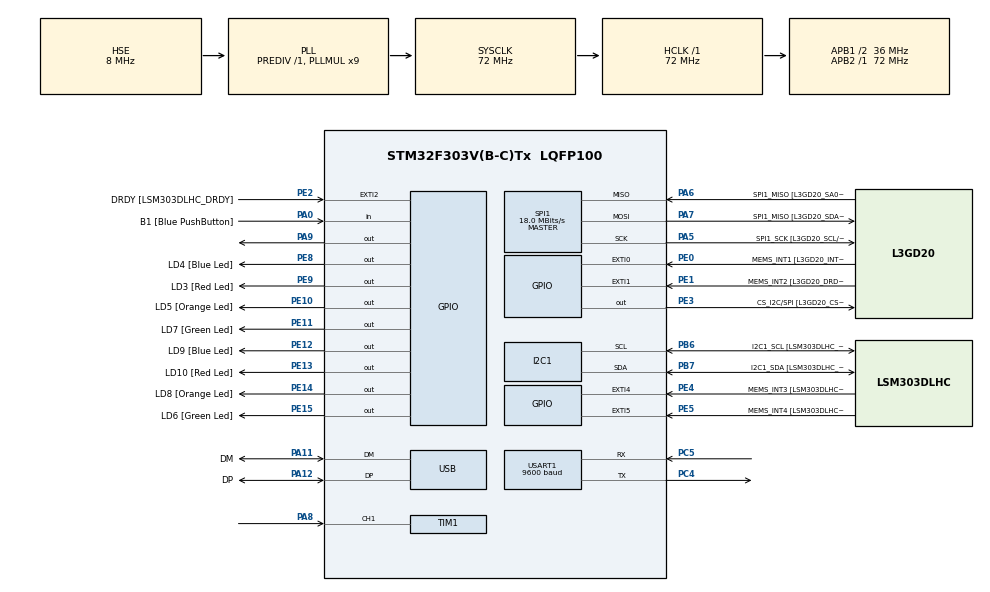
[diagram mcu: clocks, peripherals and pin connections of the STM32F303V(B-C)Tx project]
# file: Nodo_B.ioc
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I2C1.Timing-I2C=0x2000090E
Mcu.Family=STM32F3
Mcu.Name=STM32F303V(B-C)Tx
Mcu.Package=LQFP100
NVIC.PriorityGroup=NVIC_PRIORITYGROUP_0
NVIC.USART1_IRQn=true\:0\:0\:false\:false\:true\:true\:true\:true
PA0.GPIO_Label=B1 [Blue PushButton]
PA0.Signal=GPIO_Input
PA11.GPIO_Label=DM
PA11.Mode=Device
PA11.Signal=USB_DM
PA12.GPIO_Label=DP
PA12.Mode=Device
PA12.Signal=USB_DP
PA13.GPIO_Label=SWDIO
PA13.Mode=Serial_Wire
PA13.Signal=SYS_JTMS-SWDIO
PA14.GPIO_Label=SWCLK
PA14.Mode=Serial_Wire
PA14.Signal=SYS_JTCK-SWCLK
PA5.GPIO_Label=SPI1_SCK [L3GD20_SCL/SPC]
PA5.Mode=Full_Duplex_Master
PA5.Signal=SPI1_SCK
PA6.GPIO_Label=SPI1_MISO [L3GD20_SA0/SDO]
PA6.Mode=Full_Duplex_Master
PA6.Signal=SPI1_MISO
PA7.GPIO_Label=SPI1_MISO [L3GD20_SDA/SDI/SDO]
PA7.Mode=Full_Duplex_Master
PA7.Signal=SPI1_MOSI
PA8.Signal=S_TIM1_CH1
PA9.Signal=GPIO_Output
PB3.GPIO_Label=SWO
PB3.Signal=SYS_JTDO-TRACESWO
PB6.GPIO_Label=I2C1_SCL [LSM303DLHC_SCL]
PB6.GPIO_Pu=GPIO_PULLUP
PB6.Mode=I2C
PB6.Signal=I2C1_SCL
PB7.GPIO_Label=I2C1_SDA [LSM303DLHC_SDA]
PB7.GPIO_Pu=GPIO_PULLUP
PB7.Mode=I2C
PB7.Signal=I2C1_SDA
PC14-OSC32_IN.GPIO_Label=OSC32_IN
PC14-OSC32_IN.Signal=RCC_OSC32_IN
PC15-OSC32_OUT.GPIO_Label=OSC32_OUT
PC15-OSC32_OUT.Signal=RCC_OSC32_OUT
PC4.Mode=Asynchronous
PC4.Signal=USART1_TX
PC5.Mode=Asynchronous
PC5.Signal=USART1_RX
PE0.GPIO_Label=MEMS_INT1 [L3GD20_INT1]
PE0.GPIO_ModeDefaultEXTI=GPIO_MODE_EVT_RISING
PE0.Signal=GPXTI0
PE1.GPIO_Label=MEMS_INT2 [L3GD20_DRDY/INT2]
PE1.GPIO_ModeDefaultEXTI=GPIO_MODE_EVT_RISING
PE1.Signal=GPXTI1
PE10.GPIO_Label=LD5 [Orange Led]
PE10.Signal=GPIO_Output
PE11.GPIO_Label=LD7 [Green Led]
PE11.Signal=GPIO_Output
PE12.GPIO_Label=LD9 [Blue Led]
PE12.Signal=GPIO_Output
PE13.GPIO_Label=LD10 [Red Led]
PE13.Signal=GPIO_Output
PE14.GPIO_Label=LD8 [Orange Led]
PE14.Signal=GPIO_Output
PE15.GPIO_Label=LD6 [Green Led]
PE15.Signal=GPIO_Output
PE2.GPIO_Label=DRDY [LSM303DLHC_DRDY]
PE2.GPIO_ModeDefaultEXTI=GPIO_MODE_EVT_RISING
PE2.Signal=GPXTI2
PE3.GPIO_Label=CS_I2C/SPI [L3GD20_CS_I2C/SPI]
PE3.Signal=GPIO_Output
PE4.GPIO_Label=MEMS_INT3 [LSM303DLHC_INT1]
PE4.GPIO_ModeDefaultEXTI=GPIO_MODE_EVT_RISING
PE4.Signal=GPXTI4
PE5.GPIO_Label=MEMS_INT4 [LSM303DLHC_INT2]
PE5.GPIO_ModeDefaultEXTI=GPIO_MODE_EVT_RISING
PE5.Signal=GPXTI5
PE8.GPIO_Label=LD4 [Blue Led]
PE8.Signal=GPIO_Output
PE9.GPIO_Label=LD3 [Red Led]
PE9.Signal=GPIO_Output
PF0-OSC_IN.GPIO_Label=OSC_IN
PF0-OSC_IN.Mode=HSE-External-Oscillator
PF0-OSC_IN.Signal=RCC_OSC_IN
PF1-OSC_OUT.GPIO_Label=OSC_OUT
PF1-OSC_OUT.Mode=HSE-External-Oscillator
PF1-OSC_OUT.Signal=RCC_OSC_OUT
ProjectManager.HeapSize=0x200
ProjectManager.StackSize=0x400
ProjectManager.TargetToolchain=STM32CubeIDE
RCC.AHBFreq_Value=72000000
RCC.APB1CLKDivider=RCC_HCLK_DIV2
RCC.APB1Freq_Value=36000000
RCC.APB1TimFreq_Value=72000000
RCC.APB2Freq_Value=72000000
RCC.APB2TimFreq_Value=72000000
RCC.CortexFreq_Value=72000000
RCC.HCLKFreq_Value=72000000
RCC.HSE_VALUE=8000000
RCC.HSI_VALUE=8000000
RCC.LSE_VALUE=32768
RCC.PLLMUL=RCC_PLL_MUL9
RCC.PRESCALERUSB=RCC_USBCLKSOURCE_PLL_DIV1_5
RCC.SYSCLKFreq_VALUE=72000000
RCC.SYSCLKSourceVirtual=RCC_SYSCLKSOURCE_PLLCLK
RCC.USBFreq_Value=48000000
SH.S_TIM1_CH1.0=TIM1_CH1,Input_Capture1_from_TI1
SPI1.BaudRatePrescaler=SPI_BAUDRATEPRESCALER_4
SPI1.BaudRatePrescaler-Full_Duplex_Master=SPI_BAUDRATEPRESCALER_2
SPI1.CalculateBaudRate=18.0 MBits/s
SPI1.CalculateBaudRate-Full_Duplex_Master=24.0 MBits/s
SPI1.Direction=SPI_DIRECTION_2LINES
SPI1.Mode=SPI_MODE_MASTER
SPI1.Mode-Full_Duplex_Master=SPI_MODE_MASTER
SPI1.VirtualType=VM_MASTER
TIM1.Channel-Input_Capture1_from_TI1=TIM_CHANNEL_1
TIM1.Period=0xffff-1
TIM1.Prescaler=72-1
USART1.BaudRate=9600
USART1.VirtualMode-Asynchronous=VM_ASYNC
board=STM32F3DISCOVERY

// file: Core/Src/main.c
#include "main.h"

/* USER CODE BEGIN Includes */

#include "i2c-lcd.h"

/* USER CODE END Includes */

I2C_HandleTypeDef hi2c1;

SPI_HandleTypeDef hspi1;

TIM_HandleTypeDef htim1;

UART_HandleTypeDef huart1;

PCD_HandleTypeDef hpcd_USB_FS;

void SystemClock_Config(void);
static void MX_GPIO_Init(void);
static void MX_I2C1_Init(void);
static void MX_SPI1_Init(void);
static void MX_USB_PCD_Init(void);
static void MX_TIM1_Init(void);
static void MX_USART1_UART_Init(void);

/* USER CODE BEGIN 0 */

uint8_t Distance_hundreds = 0;
uint8_t Distance_tens = 0;
uint8_t Distance_units = 0;

#define BUFFER_LEN 3

uint8_t RX_BUFFER[BUFFER_LEN] = {0, 0, 0};
uint8_t TX_BUFFER[BUFFER_LEN] = {0, 0, 0};

/* USER CODE END 0 */

int main(void)
{

  /* MCU Configuration--------------------------------------------------------*/

  /* Reset of all peripherals, Initializes the Flash interface and the Systick. */
  HAL_Init();

  /* Configure the system clock */
  SystemClock_Config();

  /* Initialize all configured peripherals */
  MX_GPIO_Init();
  MX_I2C1_Init();
  MX_SPI1_Init();
  MX_USB_PCD_Init();
  MX_TIM1_Init();
  MX_USART1_UART_Init();
  /* USER CODE BEGIN 2 */

  HAL_UART_Receive_IT(&huart1, RX_BUFFER, sizeof(RX_BUFFER));

  lcd_init();

  /* USER CODE END 2 */

  /* Infinite loop */
  while (1)
  {

    /* USER CODE BEGIN 3 */
	  	  if ((RX_BUFFER[2] == 0) && (RX_BUFFER[1] == 0) && (RX_BUFFER[0] == 0)) {
	  		lcd_put_cur(0, 0);
	  		lcd_send_string ("Nessun dato");
	  		HAL_Delay(200);
	  	  }
	  	  else {
	  		Distance_hundreds = RX_BUFFER[2];
			Distance_tens = RX_BUFFER[1];
			Distance_units = RX_BUFFER[0];
			HAL_Delay(200);

			lcd_put_cur(0, 0);
			lcd_send_string ("Dist = ");
			lcd_send_data(Distance_hundreds);   //cifra delle centinaia
			lcd_send_data(Distance_tens);  //cifra delle decine
			lcd_send_data(Distance_units);  //cifra delle unità
			lcd_send_string(" cm");
			HAL_Delay(200);
	  	  }
  }
  /* USER CODE END 3 */
}

void HAL_UART_RxCpltCallback(UART_HandleTypeDef *huart)
{
    if(huart->Instance == huart1.Instance)
    {
    HAL_UART_Receive_IT(&huart1, RX_BUFFER, BUFFER_LEN);
    }
}

void SystemClock_Config(void)
{
  RCC_OscInitTypeDef RCC_OscInitStruct = {0};
  RCC_ClkInitTypeDef RCC_ClkInitStruct = {0};
  RCC_PeriphCLKInitTypeDef PeriphClkInit = {0};

  /** Initializes the RCC Oscillators according to the specified parameters
  * in the RCC_OscInitTypeDef structure.
  */
  RCC_OscInitStruct.OscillatorType = RCC_OSCILLATORTYPE_HSI|RCC_OSCILLATORTYPE_HSE;
  RCC_OscInitStruct.HSEState = RCC_HSE_ON;
  RCC_OscInitStruct.HSEPredivValue = RCC_HSE_PREDIV_DIV1;
  RCC_OscInitStruct.HSIState = RCC_HSI_ON;
  RCC_OscInitStruct.HSICalibrationValue = RCC_HSICALIBRATION_DEFAULT;
  RCC_OscInitStruct.PLL.PLLState = RCC_PLL_ON;
  RCC_OscInitStruct.PLL.PLLSource = RCC_PLLSOURCE_HSE;
  RCC_OscInitStruct.PLL.PLLMUL = RCC_PLL_MUL9;
  if (HAL_RCC_OscConfig(&RCC_OscInitStruct) != HAL_OK)
  {
    Error_Handler();
  }

  /** Initializes the CPU, AHB and APB buses clocks
  */
  RCC_ClkInitStruct.ClockType = RCC_CLOCKTYPE_HCLK|RCC_CLOCKTYPE_SYSCLK
                              |RCC_CLOCKTYPE_PCLK1|RCC_CLOCKTYPE_PCLK2;
  RCC_ClkInitStruct.SYSCLKSource = RCC_SYSCLKSOURCE_PLLCLK;
  RCC_ClkInitStruct.AHBCLKDivider = RCC_SYSCLK_DIV1;
  RCC_ClkInitStruct.APB1CLKDivider = RCC_HCLK_DIV2;
  RCC_ClkInitStruct.APB2CLKDivider = RCC_HCLK_DIV1;

  if (HAL_RCC_ClockConfig(&RCC_ClkInitStruct, FLASH_LATENCY_2) != HAL_OK)
  {
    Error_Handler();
  }
  PeriphClkInit.PeriphClockSelection = RCC_PERIPHCLK_USB|RCC_PERIPHCLK_USART1
                              |RCC_PERIPHCLK_I2C1|RCC_PERIPHCLK_TIM1;
  PeriphClkInit.Usart1ClockSelection = RCC_USART1CLKSOURCE_PCLK2;
  PeriphClkInit.I2c1ClockSelection = RCC_I2C1CLKSOURCE_HSI;
  PeriphClkInit.USBClockSelection = RCC_USBCLKSOURCE_PLL_DIV1_5;
  PeriphClkInit.Tim1ClockSelection = RCC_TIM1CLK_HCLK;
  if (HAL_RCCEx_PeriphCLKConfig(&PeriphClkInit) != HAL_OK)
  {
    Error_Handler();
  }
}

static void MX_I2C1_Init(void)
{

  hi2c1.Instance = I2C1;
  hi2c1.Init.Timing = 0x2000090E;
  hi2c1.Init.OwnAddress1 = 0;
  hi2c1.Init.AddressingMode = I2C_ADDRESSINGMODE_7BIT;
  hi2c1.Init.DualAddressMode = I2C_DUALADDRESS_DISABLE;
  hi2c1.Init.OwnAddress2 = 0;
  hi2c1.Init.OwnAddress2Masks = I2C_OA2_NOMASK;
  hi2c1.Init.GeneralCallMode = I2C_GENERALCALL_DISABLE;
  hi2c1.Init.NoStretchMode = I2C_NOSTRETCH_DISABLE;
  if (HAL_I2C_Init(&hi2c1) != HAL_OK)
  {
    Error_Handler();
  }

  /** Configure Analogue filter
  */
  if (HAL_I2CEx_ConfigAnalogFilter(&hi2c1, I2C_ANALOGFILTER_ENABLE) != HAL_OK)
  {
    Error_Handler();
  }

  /** Configure Digital filter
  */
  if (HAL_I2CEx_ConfigDigitalFilter(&hi2c1, 0) != HAL_OK)
  {
    Error_Handler();
  }

}

static void MX_SPI1_Init(void)
{

  /* SPI1 parameter configuration*/
  hspi1.Instance = SPI1;
  hspi1.Init.Mode = SPI_MODE_MASTER;
  hspi1.Init.Direction = SPI_DIRECTION_2LINES;
  hspi1.Init.DataSize = SPI_DATASIZE_4BIT;
  hspi1.Init.CLKPolarity = SPI_POLARITY_LOW;
  hspi1.Init.CLKPhase = SPI_PHASE_1EDGE;
  hspi1.Init.NSS = SPI_NSS_SOFT;
  hspi1.Init.BaudRatePrescaler = SPI_BAUDRATEPRESCALER_4;
  hspi1.Init.FirstBit = SPI_FIRSTBIT_MSB;
  hspi1.Init.TIMode = SPI_TIMODE_DISABLE;
  hspi1.Init.CRCCalculation = SPI_CRCCALCULATION_DISABLE;
  hspi1.Init.CRCPolynomial = 7;
  hspi1.Init.CRCLength = SPI_CRC_LENGTH_DATASIZE;
  hspi1.Init.NSSPMode = SPI_NSS_PULSE_ENABLE;
  if (HAL_SPI_Init(&hspi1) != HAL_OK)
  {
    Error_Handler();
  }

}

static void MX_TIM1_Init(void)
{

  TIM_MasterConfigTypeDef sMasterConfig = {0};
  TIM_IC_InitTypeDef sConfigIC = {0};

  htim1.Instance = TIM1;
  htim1.Init.Prescaler = 72-1;
  htim1.Init.CounterMode = TIM_COUNTERMODE_UP;
  htim1.Init.Period = 0xffff-1;
  htim1.Init.ClockDivision = TIM_CLOCKDIVISION_DIV1;
  htim1.Init.RepetitionCounter = 0;
  htim1.Init.AutoReloadPreload = TIM_AUTORELOAD_PRELOAD_DISABLE;
  if (HAL_TIM_IC_Init(&htim1) != HAL_OK)
  {
    Error_Handler();
  }
  sMasterConfig.MasterOutputTrigger = TIM_TRGO_RESET;
  sMasterConfig.MasterOutputTrigger2 = TIM_TRGO2_RESET;
  sMasterConfig.MasterSlaveMode = TIM_MASTERSLAVEMODE_DISABLE;
  if (HAL_TIMEx_MasterConfigSynchronization(&htim1, &sMasterConfig) != HAL_OK)
  {
    Error_Handler();
  }
  sConfigIC.ICPolarity = TIM_INPUTCHANNELPOLARITY_RISING;
  sConfigIC.ICSelection = TIM_ICSELECTION_DIRECTTI;
  sConfigIC.ICPrescaler = TIM_ICPSC_DIV1;
  sConfigIC.ICFilter = 0;
  if (HAL_TIM_IC_ConfigChannel(&htim1, &sConfigIC, TIM_CHANNEL_1) != HAL_OK)
  {
    Error_Handler();
  }

}

static void MX_USART1_UART_Init(void)
{

  huart1.Instance = USART1;
  huart1.Init.BaudRate = 9600;
  huart1.Init.WordLength = UART_WORDLENGTH_8B;
  huart1.Init.StopBits = UART_STOPBITS_1;
  huart1.Init.Parity = UART_PARITY_NONE;
  huart1.Init.Mode = UART_MODE_TX_RX;
  huart1.Init.HwFlowCtl = UART_HWCONTROL_NONE;
  huart1.Init.OverSampling = UART_OVERSAMPLING_16;
  huart1.Init.OneBitSampling = UART_ONE_BIT_SAMPLE_DISABLE;
  huart1.AdvancedInit.AdvFeatureInit = UART_ADVFEATURE_NO_INIT;
  if (HAL_UART_Init(&huart1) != HAL_OK)
  {
    Error_Handler();
  }

}

static void MX_USB_PCD_Init(void)
{

  hpcd_USB_FS.Instance = USB;
  hpcd_USB_FS.Init.dev_endpoints = 8;
  hpcd_USB_FS.Init.speed = PCD_SPEED_FULL;
  hpcd_USB_FS.Init.phy_itface = PCD_PHY_EMBEDDED;
  hpcd_USB_FS.Init.low_power_enable = DISABLE;
  hpcd_USB_FS.Init.battery_charging_enable = DISABLE;
  if (HAL_PCD_Init(&hpcd_USB_FS) != HAL_OK)
  {
    Error_Handler();
  }

}

static void MX_GPIO_Init(void)
{
  GPIO_InitTypeDef GPIO_InitStruct = {0};

  /* GPIO Ports Clock Enable */
  __HAL_RCC_GPIOE_CLK_ENABLE();
  __HAL_RCC_GPIOC_CLK_ENABLE();
  __HAL_RCC_GPIOF_CLK_ENABLE();
  __HAL_RCC_GPIOA_CLK_ENABLE();
  __HAL_RCC_GPIOB_CLK_ENABLE();

  /*Configure GPIO pin Output Level */
  HAL_GPIO_WritePin(GPIOE, CS_I2C_SPI_Pin|LD4_Pin|LD3_Pin|LD5_Pin
                          |LD7_Pin|LD9_Pin|LD10_Pin|LD8_Pin
                          |LD6_Pin, GPIO_PIN_RESET);

  /*Configure GPIO pin Output Level */
  HAL_GPIO_WritePin(GPIOA, GPIO_PIN_9, GPIO_PIN_RESET);

  /*Configure GPIO pins : DRDY_Pin MEMS_INT3_Pin MEMS_INT4_Pin MEMS_INT1_Pin
                           MEMS_INT2_Pin */
  GPIO_InitStruct.Pin = DRDY_Pin|MEMS_INT3_Pin|MEMS_INT4_Pin|MEMS_INT1_Pin
                          |MEMS_INT2_Pin;
  GPIO_InitStruct.Mode = GPIO_MODE_EVT_RISING;
  GPIO_InitStruct.Pull = GPIO_NOPULL;
  HAL_GPIO_Init(GPIOE, &GPIO_InitStruct);

  /*Configure GPIO pins : CS_I2C_SPI_Pin LD4_Pin LD3_Pin LD5_Pin
                           LD7_Pin LD9_Pin LD10_Pin LD8_Pin
                           LD6_Pin */
  GPIO_InitStruct.Pin = CS_I2C_SPI_Pin|LD4_Pin|LD3_Pin|LD5_Pin
                          |LD7_Pin|LD9_Pin|LD10_Pin|LD8_Pin
                          |LD6_Pin;
  GPIO_InitStruct.Mode = GPIO_MODE_OUTPUT_PP;
  GPIO_InitStruct.Pull = GPIO_NOPULL;
  GPIO_InitStruct.Speed = GPIO_SPEED_FREQ_LOW;
  HAL_GPIO_Init(GPIOE, &GPIO_InitStruct);

  /*Configure GPIO pin : B1_Pin */
  GPIO_InitStruct.Pin = B1_Pin;
  GPIO_InitStruct.Mode = GPIO_MODE_INPUT;
  GPIO_InitStruct.Pull = GPIO_NOPULL;
  HAL_GPIO_Init(B1_GPIO_Port, &GPIO_InitStruct);

  /*Configure GPIO pin : PA9 */
  GPIO_InitStruct.Pin = GPIO_PIN_9;
  GPIO_InitStruct.Mode = GPIO_MODE_OUTPUT_PP;
  GPIO_InitStruct.Pull = GPIO_NOPULL;
  GPIO_InitStruct.Speed = GPIO_SPEED_FREQ_LOW;
  HAL_GPIO_Init(GPIOA, &GPIO_InitStruct);

}

void Error_Handler(void)
{
  __disable_irq();
  while (1)
  {
  }
}
